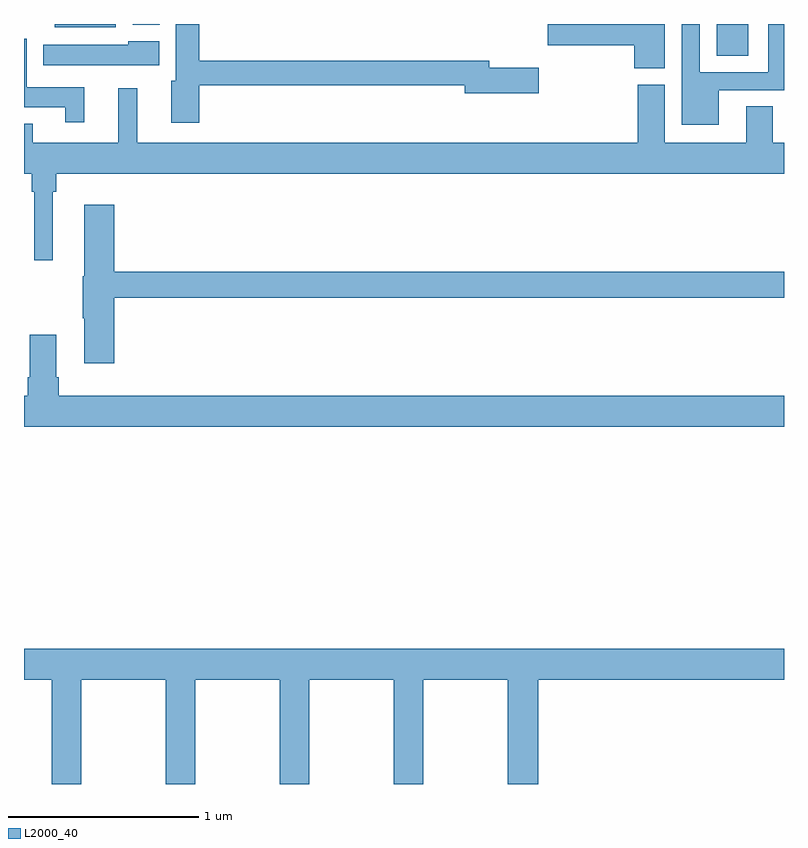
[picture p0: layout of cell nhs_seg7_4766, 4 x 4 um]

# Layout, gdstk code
import gdstk
lib = gdstk.Library(unit=1e-6, precision=1e-09)
def R(c, l, rs):  # rectangles x0, y0, x1, y1
    for r in rs: c.add(gdstk.rectangle(r[:2], r[2:], *l))
def P(c, l, *ps):  # polygons
    for p in ps: c.add(gdstk.Polygon(p, *l))
L2000_40 = (2000, 40)

nhs_seg7_4766 = lib.new_cell('nhs_seg7_4766')
R(nhs_seg7_4766, L2000_40, [(412.646,1071.832,412.813,1072), (409.572,1071.996,409.714,1072)])
P(nhs_seg7_4766, L2000_40, [(409.922,1071.678),(411.32,1071.678),(411.32,1071.635),(411.709,1071.635),(411.709,1071.77),(411.448,1071.77),(411.448,1071.806),(409.922,1071.806),(409.922,1072),(409.799,1072),(409.799,1071.702),(409.775,1071.702),(409.775,1071.48),(409.922,1071.48)],
  [(412.657,1071.651),(413,1071.651),(413,1072),(412.917,1072),(412.917,1071.747),(412.557,1071.747),(412.557,1072),(412.461,1072),(412.461,1071.47),(412.657,1071.47)],
  [(412.372,1072),(411.756,1072),(411.756,1071.887),(412.211,1071.887),(412.211,1071.766),(412.372,1071.766)],
  [(409.483,1072),(409.139,1072),(409.139,1071.999),(409.161,1071.999),(409.161,1071.983),(409.483,1071.983)],
  [(409.316,1071.667),(409.015,1071.667),(409.015,1071.922),(409,1071.922),(409,1071.563),(409.217,1071.563),(409.217,1071.483),(409.316,1071.483)],
  [(409.711,1071.91),(409.548,1071.91),(409.548,1071.892),(409.1,1071.892),(409.1,1071.782),(409.711,1071.782)],
  [(409.15,1071.116),(409.169,1071.116),(409.169,1071.212),(413,1071.212),(413,1071.376),(412.942,1071.376),(412.942,1071.566),(412.802,1071.566),(412.802,1071.376),(412.372,1071.376),(412.372,1071.681),(412.229,1071.681),(412.229,1071.376),(409.595,1071.376),(409.595,1071.661),(409.496,1071.661),(409.496,1071.376),(409.045,1071.376),(409.045,1071.475),(409,1071.475),(409,1071.212),(409.04,1071.212),(409.04,1071.116),(409.053,1071.116),(409.053,1070.757),(409.15,1070.757)],
  [(409.475,1070.56),(413,1070.56),(413,1070.696),(409.475,1070.696),(409.475,1071.049),(409.316,1071.049),(409.316,1070.673),(409.309,1070.673),(409.309,1070.452),(409.316,1070.452),(409.316,1070.214),(409.475,1070.214)],
  [(413,1070.044),(409.184,1070.044),(409.184,1070.14),(409.171,1070.14),(409.171,1070.365),(409.031,1070.365),(409.031,1070.14),(409.019,1070.14),(409.019,1070.044),(409,1070.044),(409,1069.88),(413,1069.88)],
  [(409,1068.548),(409.147,1068.548),(409.147,1068),(409.302,1068),(409.302,1068.548),(409.747,1068.548),(409.747,1068),(409.902,1068),(409.902,1068.548),(410.347,1068.548),(410.347,1068),(410.502,1068),(410.502,1068.548),(410.947,1068.548),(410.947,1068),(411.102,1068),(411.102,1068.548),(411.547,1068.548),(411.547,1068),(411.707,1068),(411.707,1068.548),(413,1068.548),(413,1068.712),(409,1068.712)])

lib.write_gds('nhs_seg7_4766.gds')
